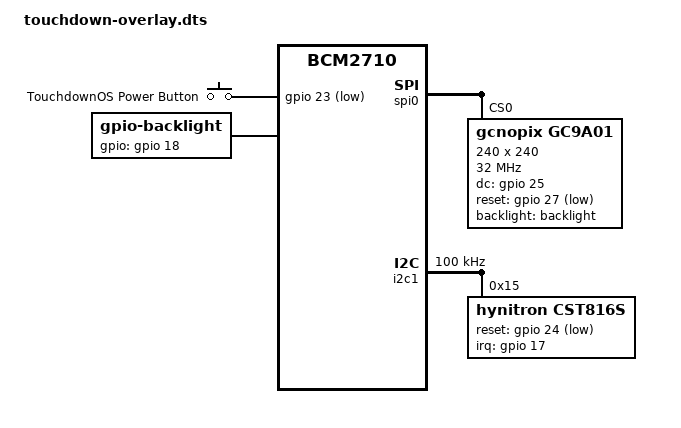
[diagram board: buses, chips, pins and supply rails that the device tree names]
/dts-v1/;
/plugin/;

/**
 * Device Tree Overlay for TouchdownOS
 * Raspberry Pi Zero 2 W with GC9A01 display and CST816S touch
 */

/ {
    compatible = "brcm,bcm2837", "brcm,bcm2710";

    fragment@0 {
        target = <&spi0>;
        __overlay__ {
            status = "okay";
            
            #address-cells = <1>;
            #size-cells = <0>;
            
            /* GC9A01 Round LCD Display */
            gc9a01: gc9a01@0 {
                compatible = "gcnopix,gc9a01";
                reg = <0>;
                spi-max-frequency = <32000000>;  /* 32 MHz */
                
                /* GPIO pin for DC (Data/Command) */
                dc-gpios = <&gpio 25 0>;
                
                /* GPIO pin for Reset */
                reset-gpios = <&gpio 27 1>;
                
                /* Display dimensions */
                width = <240>;
                height = <240>;
                
                /* Rotation (0, 90, 180, 270) */
                rotation = <0>;
                
                /* Backlight control (optional) */
                backlight = <&backlight>;
                
                status = "okay";
            };
        };
    };

    fragment@1 {
        target = <&i2c1>;
        __overlay__ {
            status = "okay";
            
            #address-cells = <1>;
            #size-cells = <0>;
            
            /* CST816S Capacitive Touch Controller */
            cst816s: cst816s@15 {
                compatible = "hynitron,cst816s";
                reg = <0x15>;
                
                /* Interrupt pin */
                interrupt-parent = <&gpio>;
                interrupts = <17 2>;  /* GPIO17, falling edge */
                
                /* Reset pin */
                reset-gpios = <&gpio 24 1>;
                
                /* Touch screen dimensions */
                touchscreen-size-x = <240>;
                touchscreen-size-y = <240>;
                
                /* Invert axis if needed */
                touchscreen-inverted-x;
                touchscreen-inverted-y;
                
                status = "okay";
            };
        };
    };

    fragment@2 {
        target = <&gpio>;
        __overlay__ {
            /* Physical button on GPIO 23 */
            button_pins: button_pins {
                brcm,pins = <23>;
                brcm,function = <0>;  /* Input */
                brcm,pull = <2>;      /* Pull-up */
            };
        };
    };

    fragment@3 {
        target-path = "/";
        __overlay__ {
            /* Physical button configuration */
            touchdown_button: touchdown-button {
                compatible = "gpio-keys";
                pinctrl-names = "default";
                pinctrl-0 = <&button_pins>;
                
                power-button {
                    label = "TouchdownOS Power Button";
                    gpios = <&gpio 23 1>;  /* GPIO23, active low */
                    linux,code = <116>;    /* KEY_POWER */
                    debounce-interval = <50>;
                };
            };
            
            /* Backlight PWM control */
            backlight: backlight {
                compatible = "gpio-backlight";
                gpios = <&gpio 18 0>;
                default-on;
            };
        };
    };

    /* Enable I2C and SPI */
    fragment@4 {
        target = <&i2c1>;
        __overlay__ {
            pinctrl-names = "default";
            pinctrl-0 = <&i2c1_pins>;
            clock-frequency = <100000>;
        };
    };

    fragment@5 {
        target = <&spi0>;
        __overlay__ {
            pinctrl-names = "default";
            pinctrl-0 = <&spi0_pins>;
        };
    };
};
